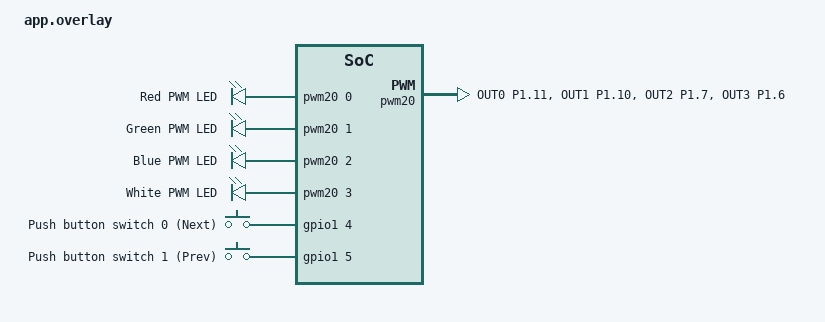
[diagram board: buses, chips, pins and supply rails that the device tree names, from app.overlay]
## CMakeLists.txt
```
cmake_minimum_required(VERSION 3.20.0)

find_package(Zephyr)
project(penlight LANGUAGES C)

target_sources(app PRIVATE
    src/main.c
    src/led_controller.c
    src/button.c
    src/color_utils.c
    src/effect_engine.c
    src/preset_manager.c
    src/preview_manager.c
    src/power_manager.c
    src/ble_service.c
)

target_include_directories(app PRIVATE src)
```

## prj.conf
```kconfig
CONFIG_PRINTK=y
CONFIG_PWM=y
CONFIG_GPIO=y

# Audio IO
CONFIG_I2S=y
CONFIG_AUDIO=y
CONFIG_AUDIO_DMIC=y

# FPU / DSP
CONFIG_FPU=y
CONFIG_FP_HARDABI=y
CONFIG_GNU_C_EXTENSIONS=y
CONFIG_STD_C11=y
# CONFIG_CPP=y
# CONFIG_STD_CPP20=y
# CONFIG_REQUIRES_FULL_LIBCPP=y
CONFIG_CMSIS_DSP=y
CONFIG_CMSIS_DSP_TRANSFORM=y
CONFIG_CMSIS_DSP_WINDOW=y
CONFIG_CMSIS_DSP_AUTOVECTORIZE=y

# Heap
# CONFIG_SYS_HEAP_RUNTIME_STATS=y
# CONFIG_SYS_HEAP_ARRAY_SIZE=4

# BT
CONFIG_BT=y
CONFIG_BT_PERIPHERAL=y
CONFIG_BT_SMP=y
CONFIG_BT_GATT_CLIENT=y
CONFIG_BT_GATT_DYNAMIC_DB=y
CONFIG_BT_DEVICE_NAME="LightstickBLE"
CONFIG_ZERO_LATENCY_IRQS=y
CONFIG_BT_CTLR_ZLI=y
CONFIG_BT_CTLR_ULL_HIGH_PRIO=2

CONFIG_BT_BUF_ACL_RX_SIZE=255
CONFIG_BT_BUF_ACL_TX_SIZE=251
CONFIG_BT_BUF_CMD_TX_SIZE=255
CONFIG_BT_BUF_EVT_DISCARDABLE_SIZE=255

CONFIG_BT_L2CAP_TX_MTU=247

# Settings Subsystem
CONFIG_SETTINGS=y
CONFIG_SETTINGS_RUNTIME=y

# NVS (Non-Volatile Storage)
CONFIG_FLASH=y
CONFIG_FLASH_MAP=y
CONFIG_NVS=y
CONFIG_FLASH_PAGE_LAYOUT=y
CONFIG_MPU_ALLOW_FLASH_WRITE=y

# ZMS (Zephyr M
CONFIG_ZMS=y
CONFIG_SETTINGS_ZMS=y

CONFIG_PM_DEVICE=y
CONFIG_POWEROFF=y
CONFIG_HWINFO=y

CONFIG_MAIN_STACK_SIZE=4096
CONFIG_BT_RX_STACK_SIZE=4096
CONFIG_SETTINGS_NVS_SECTOR_COUNT=8

# Battery based boot does not have UART console
CONFIG_SERIAL=n
CONFIG_UART_CONSOLE=n

CONFIG_USE_SEGGER_RTT=y
CONFIG_RTT_CONSOLE=y
CONFIG_LOG=y
CONFIG_LOG_BACKEND_RTT=y
CONFIG_LOG_PRINTK=n
CONFIG_STDOUT_CONSOLE=n
```

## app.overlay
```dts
/ {
	pwmleds {
		compatible = "pwm-leds";

		pwm_led_r: pwm_led_r {
			pwms = <&pwm20 0 PWM_MSEC(1) PWM_POLARITY_NORMAL>;
			label = "Red PWM LED";
			status = "okay";
		};
		pwm_led_g: pwm_led_g {
			pwms = <&pwm20 1 PWM_MSEC(1) PWM_POLARITY_NORMAL>;
			label = "Green PWM LED";
			status = "okay";
		};
		pwm_led_b: pwm_led_b {
			pwms = <&pwm20 2 PWM_MSEC(1) PWM_POLARITY_NORMAL>;
			label = "Blue PWM LED";
			status = "okay";
		};
		pwm_led_w: pwm_led_w {
			pwms = <&pwm20 3 PWM_MSEC(1) PWM_POLARITY_NORMAL>;
			label = "White PWM LED";
			status = "okay";
		};
	};

	buttons {
		compatible = "gpio-keys";

		button0: button_0 {
			gpios = <&gpio1 4 GPIO_ACTIVE_HIGH>;
			label = "Push button switch 0 (Next)";
			zephyr,code = <INPUT_KEY_0>;
		};

		button1: button_1 {
			gpios = <&gpio1 5 GPIO_ACTIVE_HIGH>;
			label = "Push button switch 1 (Prev)";
			zephyr,code = <INPUT_KEY_1>;
		};
	};

	aliases {
		pwm-led-r = &pwm_led_r;
		pwm-led-g = &pwm_led_g;
		pwm-led-b = &pwm_led_b;
		pwm-led-w = &pwm_led_w;
		button-next = &button0;
		button-prev = &button1;
	};
};

&pinctrl {
	pwm20_default: pwm20_default {
		group1 {
			psels = <NRF_PSEL(PWM_OUT0, 1, 11)>,
			        <NRF_PSEL(PWM_OUT1, 1, 10)>,
			        <NRF_PSEL(PWM_OUT2, 1, 7)>,
			        <NRF_PSEL(PWM_OUT3, 1, 6)>;
		};
	};
	pwm20_sleep: pwm20_sleep {
		group1 {
			psels = <NRF_PSEL(PWM_OUT0, 1, 11)>,
			        <NRF_PSEL(PWM_OUT1, 1, 10)>,
			        <NRF_PSEL(PWM_OUT2, 1, 7)>,
			        <NRF_PSEL(PWM_OUT3, 1, 6)>;
			low-power-enable;
		};
	};
};

&gpio0 {
	status = "okay";
};

&pwm20 {
	status = "okay";
	pinctrl-0 = <&pwm20_default>;
	pinctrl-1 = <&pwm20_sleep>;
	pinctrl-names = "default", "sleep";
};
```

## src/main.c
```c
/*
 * Penlight Main Application
 *
 * RGBW LED Penlight with BLE control
 */

#include <zephyr/kernel.h>
#include <zephyr/logging/log.h>

#include "ble_service.h"
#include "button.h"
#include "effect_engine.h"
#include "led_controller.h"
#include "power_manager.h"
#include "preset_manager.h"
#include "preview_manager.h"

LOG_MODULE_REGISTER(main, LOG_LEVEL_DBG);

/* アプリケーション状態 */
enum app_state {
  APP_STATE_NORMAL,
  APP_STATE_PREVIEW,
  APP_STATE_SLEEP,
};

static enum app_state current_state = APP_STATE_NORMAL;

/* 現在のプリセットエフェクトを開始 */
static void start_current_preset(void)
{
  struct preset_data preset;
  uint8_t index = preset_get_current_index();

  if (preset_get(index, &preset) == 0) {
    effect_engine_set(&preset);
    LOG_INF("Started preset %d", index);
  }
}

/* プレビュー終了コールバック */
static void on_preview_exit(void)
{
  LOG_INF("Preview ended, returning to normal mode");
  current_state = APP_STATE_NORMAL;
  start_current_preset();
}

/* ボタンイベントコールバック */
static void on_button_event(enum button_id btn, enum button_event evt)
{
  LOG_INF("Button %d event: %s", btn, evt == BUTTON_EVT_SHORT_PRESS ? "short" : "long");

  /* プレビューモード中はボタンでプレビュー終了 */
  if (preview_is_active()) {
    preview_exit();
    return;
  }

  switch (evt) {
    case BUTTON_EVT_SHORT_PRESS:
      if (current_state == APP_STATE_NORMAL) {
        uint8_t new_index;

        if (btn == BUTTON_NEXT) {
          new_index = preset_next();
        } else {
          new_index = preset_prev();
        }

        /* プリセット変更 */
        start_current_preset();

        /* BLE通知 */
        ble_notify_current_preset(new_index);

        LOG_INF("Preset changed to %d", new_index);
      }
      break;

    case BUTTON_EVT_LONG_PRESS:
      if (btn == BUTTON_NEXT) {
        if (current_state == APP_STATE_NORMAL) {
          /* スリープモードへ移行 */
          LOG_INF("Entering sleep mode");
          current_state = APP_STATE_SLEEP;
          effect_engine_stop();
          ble_stop_advertising();
          power_enter_sleep();
          /* Note: power_enter_sleep()から戻らない */
        }
      }
      break;
  }
}

/* 初期化処理 */
static int app_init(void)
{
  int ret;

  LOG_INF("Penlight initializing...");

  /* Power Manager初期化 */
  ret = power_manager_init();
  if (ret < 0) {
    LOG_ERR("Power manager init failed: %d", ret);
    return ret;
  }

  /* Deep Sleep復帰時の長押し判定 */
  if (power_is_wakeup_from_sleep()) {
    LOG_INF("Wakeup from sleep detected, checking button...");
    if (!power_check_wakeup_condition()) {
      /* 長押し確認失敗、再スリープへ (この行には到達しない) */
      return 0;
    }
    LOG_INF("Wakeup confirmed, continuing boot");
  }

  /* LED Controller初期化 */
  ret = led_controller_init();
  if (ret < 0) {
    LOG_ERR("LED controller init failed: %d", ret);
    return ret;
  }

  /* Button Handler初期化 */
  ret = button_init();
  if (ret < 0) {
    LOG_ERR("Button handler init failed: %d", ret);
    return ret;
  }
  button_set_callback(on_button_event);

  /* Effect Engine初期化 */
  ret = effect_engine_init();
  if (ret < 0) {
    LOG_ERR("Effect engine init failed: %d", ret);
    return ret;
  }

  /* Preset Manager初期化 */
  ret = preset_manager_init();
  if (ret < 0) {
    LOG_ERR("Preset manager init failed: %d", ret);
    return ret;
  }

  /* Preview Manager初期化 */
  ret = preview_manager_init();
  if (ret < 0) {
    LOG_ERR("Preview manager init failed: %d", ret);
    return ret;
  }
  preview_set_exit_callback(on_preview_exit);

  /* BLE Service初期化 */
  ret = ble_service_init();
  if (ret < 0) {
    LOG_ERR("BLE service init failed: %d", ret);
    return ret;
  }

  LOG_INF("Penlight initialized");
  return 0;
}

int main(void)
{
  int ret;

  LOG_INF("Penlight starting...");

  /* アプリケーション初期化 */
  ret = app_init();
  if (ret < 0) {
    LOG_ERR("Application init failed: %d", ret);
    return ret;
  }

  /* BLE広告開始 */
  ret = ble_start_advertising();
  if (ret < 0) {
    LOG_ERR("BLE advertising start failed: %d", ret);
    /* 継続する (BLEなしでも動作可能) */
  }

  /* バッテリー監視開始 */
  power_start_battery_monitor();

  /* 初期プリセットでエフェクト開始 */
  current_state = APP_STATE_NORMAL;
  start_current_preset();

  LOG_INF("Penlight started, preset=%d", preset_get_current_index());

  /* メインループ (Zephyrのワークキューで処理されるため、ここでは何もしない) */
  while (1) {
    k_sleep(K_FOREVER);
  }

  return 0;
}
```

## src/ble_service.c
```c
/*
 * BLE Service - Penlight Control BLE GATT Service
 */

#include "ble_service.h"

#include <string.h>
#include <zephyr/bluetooth/bluetooth.h>
#include <zephyr/bluetooth/conn.h>
#include <zephyr/bluetooth/gatt.h>
#include <zephyr/bluetooth/uuid.h>
#include <zephyr/kernel.h>
#include <zephyr/logging/log.h>

#include "effect_engine.h"
#include "effect_types.h"
#include "power_manager.h"
#include "preset_manager.h"
#include "preview_manager.h"

LOG_MODULE_REGISTER(ble_service, LOG_LEVEL_DBG);

/* Service UUID: 0000ff00-0000-1000-8000-00805f9b34fb */
#define BT_UUID_PENLIGHT_SERVICE_VAL \
  BT_UUID_128_ENCODE(0x0000ff00, 0x0000, 0x1000, 0x8000, 0x00805f9b34fb)
#define BT_UUID_PENLIGHT_SERVICE BT_UUID_DECLARE_128(BT_UUID_PENLIGHT_SERVICE_VAL)

/* Characteristic UUIDs */
#define BT_UUID_PRESET_WRITE_VAL \
  BT_UUID_128_ENCODE(0x0000ff01, 0x0000, 0x1000, 0x8000, 0x00805f9b34fb)
#define BT_UUID_PRESET_WRITE BT_UUID_DECLARE_128(BT_UUID_PRESET_WRITE_VAL)

#define BT_UUID_PRESET_READ_VAL \
  BT_UUID_128_ENCODE(0x0000ff02, 0x0000, 0x1000, 0x8000, 0x00805f9b34fb)
#define BT_UUID_PRESET_READ BT_UUID_DECLARE_128(BT_UUID_PRESET_READ_VAL)

#define BT_UUID_PRESET_SAVE_VAL \
  BT_UUID_128_ENCODE(0x0000ff03, 0x0000, 0x1000, 0x8000, 0x00805f9b34fb)
#define BT_UUID_PRESET_SAVE BT_UUID_DECLARE_128(BT_UUID_PRESET_SAVE_VAL)

#define BT_UUID_PREVIEW_COLOR_VAL \
  BT_UUID_128_ENCODE(0x0000ff04, 0x0000, 0x1000, 0x8000, 0x00805f9b34fb)
#define BT_UUID_PREVIEW_COLOR BT_UUID_DECLARE_128(BT_UUID_PREVIEW_COLOR_VAL)

#define BT_UUID_CURRENT_PRESET_VAL \
  BT_UUID_128_ENCODE(0x0000ff05, 0x0000, 0x1000, 0x8000, 0x00805f9b34fb)
#define BT_UUID_CURRENT_PRESET BT_UUID_DECLARE_128(BT_UUID_CURRENT_PRESET_VAL)

#define BT_UUID_EXIT_PREVIEW_VAL \
  BT_UUID_128_ENCODE(0x0000ff06, 0x0000, 0x1000, 0x8000, 0x00805f9b34fb)
#define BT_UUID_EXIT_PREVIEW BT_UUID_DECLARE_128(BT_UUID_EXIT_PREVIEW_VAL)

#define BT_UUID_BATTERY_LEVEL_VAL \
  BT_UUID_128_ENCODE(0x0000ff07, 0x0000, 0x1000, 0x8000, 0x00805f9b34fb)
#define BT_UUID_BATTERY_LEVEL BT_UUID_DECLARE_128(BT_UUID_BATTERY_LEVEL_VAL)

/* 状態 */
static struct bt_conn * current_conn;
static uint8_t preset_read_index;
static uint8_t current_preset_value;
static uint8_t battery_level_value;
static bool current_preset_notify_enabled;
static bool battery_level_notify_enabled;

/* BLE受信データからプリセットデータへ変換 */
static int parse_effect_data(
  const uint8_t * data, uint16_t len, struct preset_data * preset, bool has_preset_num)
{
  uint8_t offset = has_preset_num ? 1 : 0;

  if (len < offset + 1) {
    return -EINVAL;
  }

  uint8_t mode = data[offset];
  preset->mode = mode;

  switch (mode) {
    case EFFECT_MODE_SOLID:
      if (len < offset + 5) {
        return -EINVAL;
      }
      preset->data.solid.r = data[offset + 1];
      preset->data.solid.g = data[offset + 2];
      preset->data.solid.b = data[offset + 3];
      preset->data.solid.w = data[offset + 4];
      break;

    case EFFECT_MODE_RAINBOW:
      if (len < offset + 3) {
        return -EINVAL;
      }
      preset->data.rainbow.speed = data[offset + 1];
      preset->data.rainbow.brightness = data[offset + 2];
      break;

    case EFFECT_MODE_GRADIENT:
      if (len < offset + 10) {
        return -EINVAL;
      }
      preset->data.gradient.r1 = data[offset + 1];
      preset->data.gradient.g1 = data[offset + 2];
      preset->data.gradient.b1 = data[offset + 3];
      preset->data.gradient.w1 = data[offset + 4];
      preset->data.gradient.r2 = data[offset + 5];
      preset->data.gradient.g2 = data[offset + 6];
      preset->data.gradient.b2 = data[offset + 7];
      preset->data.gradient.w2 = data[offset + 8];
      preset->data.gradient.speed = data[offset + 9];
      break;

    case EFFECT_MODE_BLINK:
      if (len < offset + 6) {
        return -EINVAL;
      }
      preset->data.blink.r = data[offset + 1];
      preset->data.blink.g = data[offset + 2];
      preset->data.blink.b = data[offset + 3];
      preset->data.blink.w = data[offset + 4];
      preset->data.blink.period = data[offset + 5];
      break;

    default:
      return -EINVAL;
  }

  return 0;
}

/* プリセットデータを送信バッファに変換 */
static int encode_effect_data(const struct preset_data * preset, uint8_t * buf, size_t buf_size)
{
  int len = 0;

  buf[len++] = preset->mode;

  switch (preset->mode) {
    case EFFECT_MODE_SOLID:
      if (buf_size < 5) return -ENOMEM;
      buf[len++] = preset->data.solid.r;
      buf[len++] = preset->data.solid.g;
      buf[len++] = preset->data.solid.b;
      buf[len++] = preset->data.solid.w;
      break;

    case EFFECT_MODE_RAINBOW:
      if (buf_size < 3) return -ENOMEM;
      buf[len++] = preset->data.rainbow.speed;
      buf[len++] = preset->data.rainbow.brightness;
      break;

    case EFFECT_MODE_GRADIENT:
      if (buf_size < 10) return -ENOMEM;
      buf[len++] = preset->data.gradient.r1;
      buf[len++] = preset->data.gradient.g1;
      buf[len++] = preset->data.gradient.b1;
      buf[len++] = preset->data.gradient.w1;
      buf[len++] = preset->data.gradient.r2;
      buf[len++] = preset->data.gradient.g2;
      buf[len++] = preset->data.gradient.b2;
      buf[len++] = preset->data.gradient.w2;
      buf[len++] = preset->data.gradient.speed;
      break;

    case EFFECT_MODE_BLINK:
      if (buf_size < 6) return -ENOMEM;
      buf[len++] = preset->data.blink.r;
      buf[len++] = preset->data.blink.g;
      buf[len++] = preset->data.blink.b;
      buf[len++] = preset->data.blink.w;
      buf[len++] = preset->data.blink.period;
      break;

    default:
      return -EINVAL;
  }

  return len;
}

/* Preset Write callback */
static ssize_t preset_write_cb(
  struct bt_conn * conn, const struct bt_gatt_attr * attr, const void * buf, uint16_t len,
  uint16_t offset, uint8_t flags)
{
  const uint8_t * data = buf;

  if (len < 2) {
    return BT_GATT_ERR(BT_ATT_ERR_INVALID_ATTRIBUTE_LEN);
  }

  uint8_t preset_index = data[0];
  if (preset_index >= PRESET_COUNT) {
    return BT_GATT_ERR(BT_ATT_ERR_VALUE_NOT_ALLOWED);
  }

  struct preset_data preset;
  int rc = parse_effect_data(data, len, &preset, true);
  if (rc < 0) {
    return BT_GATT_ERR(BT_ATT_ERR_INVALID_ATTRIBUTE_LEN);
  }

  rc = preset_set(preset_index, &preset);
  if (rc < 0) {
    return BT_GATT_ERR(BT_ATT_ERR_UNLIKELY);
  }

  LOG_INF("Preset %d written: mode=%d", preset_index, preset.mode);
  return len;
}

/* Preset Read write callback (select preset) */
static ssize_t preset_read_write_cb(
  struct bt_conn * conn, const struct bt_gatt_attr * attr, const void * buf, uint16_t len,
  uint16_t offset, uint8_t flags)
{
  if (len != 1) {
    return BT_GATT_ERR(BT_ATT_ERR_INVALID_ATTRIBUTE_LEN);
  }

  const uint8_t * data = buf;
  if (data[0] >= PRESET_COUNT) {
    return BT_GATT_ERR(BT_ATT_ERR_VALUE_NOT_ALLOWED);
  }

  preset_read_index = data[0];
  LOG_INF("Preset read index set: %d", preset_read_index);
  return len;
}

/* Preset Read read callback */
static ssize_t preset_read_cb(
  struct bt_conn * conn, const struct bt_gatt_attr * attr, void * buf, uint16_t len,
  uint16_t offset)
{
  struct preset_data preset;
  uint8_t data[PRESET_DATA_MAX_SIZE];

  int rc = preset_get(preset_read_index, &preset);
  if (rc < 0) {
    return BT_GATT_ERR(BT_ATT_ERR_UNLIKELY);
  }

  int data_len = encode_effect_data(&preset, data, sizeof(data));
  if (data_len < 0) {
    return BT_GATT_ERR(BT_ATT_ERR_UNLIKELY);
  }

  return bt_gatt_attr_read(conn, attr, buf, len, offset, data, data_len);
}

/* Preset Save callback */
static ssize_t preset_save_cb(
  struct bt_conn * conn, const struct bt_gatt_attr * attr, const void * buf, uint16_t len,
  uint16_t offset, uint8_t flags)
{
  int rc = preset_save_all();
  if (rc < 0) {
    LOG_ERR("Failed to save presets: %d", rc);
    return BT_GATT_ERR(BT_ATT_ERR_UNLIKELY);
  }

  LOG_INF("All presets saved");
  return len;
}

/* Preview Color callback */
static ssize_t preview_color_cb(
  struct bt_conn * conn, const struct bt_gatt_attr * attr, const void * buf, uint16_t len,
  uint16_t offset, uint8_t flags)
{
  const uint8_t * data = buf;

  if (len < 1) {
    return BT_GATT_ERR(BT_ATT_ERR_INVALID_ATTRIBUTE_LEN);
  }

  struct preset_data preset;
  int rc = parse_effect_data(data, len, &preset, false);
  if (rc < 0) {
    return BT_GATT_ERR(BT_ATT_ERR_INVALID_ATTRIBUTE_LEN);
  }

  preview_start(&preset);
  LOG_INF("Preview started: mode=%d", preset.mode);
  return len;
}

/* Current Preset read callback */
static ssize_t current_preset_read_cb(
  struct bt_conn * conn, const struct bt_gatt_attr * attr, void * buf, uint16_t len,
  uint16_t offset)
{
  current_preset_value = preset_get_current_index();
  return bt_gatt_attr_read(
    conn, attr, buf, len, offset, &current_preset_value, sizeof(current_preset_value));
}

/* Current Preset CCC changed callback */
static void current_preset_ccc_changed(const struct bt_gatt_attr * attr, uint16_t value)
{
  current_preset_notify_enabled = (value == BT_GATT_CCC_NOTIFY);
  LOG_INF("Current Preset notify %s", current_preset_notify_enabled ? "enabled" : "disabled");
}

/* Exit Preview callback */
static ssize_t exit_preview_cb(
  struct bt_conn * conn, const struct bt_gatt_attr * attr, const void * buf, uint16_t len,
  uint16_t offset, uint8_t flags)
{
  if (len != 1) {
    return BT_GATT_ERR(BT_ATT_ERR_INVALID_ATTRIBUTE_LEN);
  }

  const uint8_t * data = buf;
  if (data[0] == 0x01) {
    preview_exit();
    LOG_INF("Preview exited via BLE");
  }

  return len;
}

/* Battery Level read callback */
static ssize_t battery_level_read_cb(
  struct bt_conn * conn, const struct bt_gatt_attr * attr, void * buf, uint16_t len,
  uint16_t offset)
{
  battery_level_value = power_get_battery_level();
  return bt_gatt_attr_read(
    conn, attr, buf, len, offset, &battery_level_value, sizeof(battery_level_value));
}

/* Battery Level CCC changed callback */
static void battery_level_ccc_changed(const struct bt_gatt_attr * attr, uint16_t value)
{
  battery_level_notify_enabled = (value == BT_GATT_CCC_NOTIFY);
  LOG_INF("Battery Level notify %s", battery_level_notify_enabled ? "enabled" : "disabled");
}

/* GATT Service Definition */
BT_GATT_SERVICE_DEFINE(
  penlight_svc, BT_GATT_PRIMARY_SERVICE(BT_UUID_PENLIGHT_SERVICE),

  /* Preset Write (0xff01) - Write */
  BT_GATT_CHARACTERISTIC(
    BT_UUID_PRESET_WRITE, BT_GATT_CHRC_WRITE, BT_GATT_PERM_WRITE, NULL, preset_write_cb, NULL),

  /* Preset Read (0xff02) - Read/Write */
  BT_GATT_CHARACTERISTIC(
    BT_UUID_PRESET_READ, BT_GATT_CHRC_READ | BT_GATT_CHRC_WRITE,
    BT_GATT_PERM_READ | BT_GATT_PERM_WRITE, preset_read_cb, preset_read_write_cb, NULL),

  /* Preset Save (0xff03) - Write */
  BT_GATT_CHARACTERISTIC(
    BT_UUID_PRESET_SAVE, BT_GATT_CHRC_WRITE, BT_GATT_PERM_WRITE, NULL, preset_save_cb, NULL),

  /* Preview Color (0xff04) - Write */
  BT_GATT_CHARACTERISTIC(
    BT_UUID_PREVIEW_COLOR, BT_GATT_CHRC_WRITE, BT_GATT_PERM_WRITE, NULL, preview_color_cb, NULL),

  /* Current Preset (0xff05) - Read/Notify */
  BT_GATT_CHARACTERISTIC(
    BT_UUID_CURRENT_PRESET, BT_GATT_CHRC_READ | BT_GATT_CHRC_NOTIFY, BT_GATT_PERM_READ,
    current_preset_read_cb, NULL, NULL),
  BT_GATT_CCC(current_preset_ccc_changed, BT_GATT_PERM_READ | BT_GATT_PERM_WRITE),

  /* Exit Preview (0xff06) - Write */
  BT_GATT_CHARACTERISTIC(
    BT_UUID_EXIT_PREVIEW, BT_GATT_CHRC_WRITE, BT_GATT_PERM_WRITE, NULL, exit_preview_cb, NULL),

  /* Battery Level (0xff07) - Read/Notify */
  BT_GATT_CHARACTERISTIC(
    BT_UUID_BATTERY_LEVEL, BT_GATT_CHRC_READ | BT_GATT_CHRC_NOTIFY, BT_GATT_PERM_READ,
    battery_level_read_cb, NULL, NULL),
  BT_GATT_CCC(battery_level_ccc_changed, BT_GATT_PERM_READ | BT_GATT_PERM_WRITE), );

/* Advertising data */
static const struct bt_data ad[] = {
  BT_DATA_BYTES(BT_DATA_FLAGS, (BT_LE_AD_GENERAL | BT_LE_AD_NO_BREDR)),
  BT_DATA_BYTES(BT_DATA_UUID128_ALL, BT_UUID_PENLIGHT_SERVICE_VAL),
};

/* Scan response data */
static const struct bt_data sd[] = {
  BT_DATA(BT_DATA_NAME_COMPLETE, CONFIG_BT_DEVICE_NAME, sizeof(CONFIG_BT_DEVICE_NAME) - 1),
};

/* Connection callbacks */
static void connected(struct bt_conn * conn, uint8_t err)
{
  if (err) {
    LOG_ERR("Connection failed (err %u)", err);
    return;
  }

  current_conn = bt_conn_ref(conn);
  LOG_INF("Connected");
}

static void disconnected(struct bt_conn * conn, uint8_t reason)
{
  LOG_INF("Disconnected (reason %u)", reason);

  if (current_conn) {
    bt_conn_unref(current_conn);
    current_conn = NULL;
  }

  /* 再広告 */
  ble_start_advertising();
}

BT_CONN_CB_DEFINE(conn_callbacks) = {
  .connected = connected,
  .disconnected = disconnected,
};

int ble_service_init(void)
{
  int err;

  err = bt_enable(NULL);
  if (err) {
    LOG_ERR("Bluetooth init failed (err %d)", err);
    return err;
  }

  LOG_INF("Bluetooth initialized");
  return 0;
}

int ble_start_advertising(void)
{
  int err;

  err = bt_le_adv_start(BT_LE_ADV_CONN_FAST_1, ad, ARRAY_SIZE(ad), sd, ARRAY_SIZE(sd));
  if (err) {
    LOG_ERR("Advertising failed to start (err %d)", err);
    return err;
  }

  LOG_INF("Advertising started");
  return 0;
}

int ble_stop_advertising(void)
{
  int err;

  err = bt_le_adv_stop();
  if (err) {
    LOG_ERR("Advertising failed to stop (err %d)", err);
    return err;
  }

  LOG_INF("Advertising stopped");
  return 0;
}

void ble_notify_current_preset(uint8_t preset_index)
{
  if (!current_conn || !current_preset_notify_enabled) {
    return;
  }

  current_preset_value = preset_index;

  int err = bt_gatt_notify(
    current_conn, &penlight_svc.attrs[10], &current_preset_value, sizeof(current_preset_value));
  if (err) {
    LOG_ERR("Current Preset notify failed (err %d)", err);
  }
}

void ble_notify_battery_level(uint8_t level)
{
  if (!current_conn || !battery_level_notify_enabled) {
    return;
  }

  battery_level_value = level;

  int err = bt_gatt_notify(
    current_conn, &penlight_svc.attrs[15], &battery_level_value, sizeof(battery_level_value));
  if (err) {
    LOG_ERR("Battery Level notify failed (err %d)", err);
  }
}
```

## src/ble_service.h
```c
/*
 * BLE Service - Penlight Control BLE GATT Service
 */

#ifndef BLE_SERVICE_H
#define BLE_SERVICE_H

#include <stdint.h>

/**
 * @brief BLE Serviceを初期化・開始
 * @return 0: 成功, 負値: エラー
 */
int ble_service_init(void);

/**
 * @brief BLE広告を開始
 * @return 0: 成功, 負値: エラー
 */
int ble_start_advertising(void);

/**
 * @brief BLE広告を停止
 * @return 0: 成功, 負値: エラー
 */
int ble_stop_advertising(void);

/**
 * @brief Current Presetを通知
 * @param preset_index 現在のプリセット番号
 */
void ble_notify_current_preset(uint8_t preset_index);

/**
 * @brief Battery Levelを通知
 * @param level バッテリー残量 (0-100%)
 */
void ble_notify_battery_level(uint8_t level);

#endif /* BLE_SERVICE_H */
```

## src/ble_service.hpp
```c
#pragma once

#include <zephyr/bluetooth/bluetooth.h>
#include <zephyr/bluetooth/conn.h>
#include <zephyr/bluetooth/gatt.h>
#include <zephyr/bluetooth/uuid.h>
#include <zephyr/kernel.h>
#include <zephyr/logging/log.h>

#include <array>

#include "effect_mode.hpp"

// Penlight Control Service UUID: 0000ff00-0000-1000-8000-00805f9b34fb
#define BT_UUID_PENLIGHT_SERVICE_VAL \
  BT_UUID_128_ENCODE(0x0000ff00, 0x0000, 0x1000, 0x8000, 0x00805f9b34fb)
#define BT_UUID_PENLIGHT_SERVICE BT_UUID_DECLARE_128(BT_UUID_PENLIGHT_SERVICE_VAL)

// Preset Write Characteristic UUID: 0000ff01-...
#define BT_UUID_PRESET_WRITE_VAL \
  BT_UUID_128_ENCODE(0x0000ff01, 0x0000, 0x1000, 0x8000, 0x00805f9b34fb)
#define BT_UUID_PRESET_WRITE BT_UUID_DECLARE_128(BT_UUID_PRESET_WRITE_VAL)

// Preset Read Characteristic UUID: 0000ff02-...
#define BT_UUID_PRESET_READ_VAL \
  BT_UUID_128_ENCODE(0x0000ff02, 0x0000, 0x1000, 0x8000, 0x00805f9b34fb)
#define BT_UUID_PRESET_READ BT_UUID_DECLARE_128(BT_UUID_PRESET_READ_VAL)

// Preview Color Characteristic UUID: 0000ff03-...
#define BT_UUID_PREVIEW_COLOR_VAL \
  BT_UUID_128_ENCODE(0x0000ff03, 0x0000, 0x1000, 0x8000, 0x00805f9b34fb)
#define BT_UUID_PREVIEW_COLOR BT_UUID_DECLARE_128(BT_UUID_PREVIEW_COLOR_VAL)

// Current Preset Characteristic UUID: 0000ff04-...
#define BT_UUID_CURRENT_PRESET_VAL \
  BT_UUID_128_ENCODE(0x0000ff04, 0x0000, 0x1000, 0x8000, 0x00805f9b34fb)
#define BT_UUID_CURRENT_PRESET BT_UUID_DECLARE_128(BT_UUID_CURRENT_PRESET_VAL)

// Exit Preview Characteristic UUID: 0000ff05-...
#define BT_UUID_EXIT_PREVIEW_VAL \
  BT_UUID_128_ENCODE(0x0000ff05, 0x0000, 0x1000, 0x8000, 0x00805f9b34fb)
#define BT_UUID_EXIT_PREVIEW BT_UUID_DECLARE_128(BT_UUID_EXIT_PREVIEW_VAL)

// Battery Level Characteristic UUID: 0000ff06-...
#define BT_UUID_BATTERY_LEVEL_VAL \
  BT_UUID_128_ENCODE(0x0000ff06, 0x0000, 0x1000, 0x8000, 0x00805f9b34fb)
#define BT_UUID_BATTERY_LEVEL BT_UUID_DECLARE_128(BT_UUID_BATTERY_LEVEL_VAL)

// Preset write data structure
struct preset_write_t
{
  uint8_t preset_number;
  rgbw_color_t color;
} __packed;

// Forward declarations
class PenlightBLEService;

// Callback function types
using PresetWriteCallback = void (*)(uint8_t preset, const Effect & effect);
using PresetReadCallback = void (*)(uint8_t preset);
using PreviewColorCallback = void (*)(const Effect & effect);
using ExitPreviewCallback = void (*)();
using CurrentPresetReadCallback = uint8_t (*)();

class PenlightBLEService
{
public:
  // Singleton instance accessor
  static PenlightBLEService & instance()
  {
    static PenlightBLEService instance;
    return instance;
  }

  // Delete copy constructor and assignment operator
  PenlightBLEService(const PenlightBLEService &) = delete;
  PenlightBLEService & operator=(const PenlightBLEService &) = delete;

  void set_preset_write_callback(PresetWriteCallback cb) { preset_write_cb_ = cb; }
  void set_preset_read_callback(PresetReadCallback cb) { preset_read_cb_ = cb; }
  void set_preview_color_callback(PreviewColorCallback cb) { preview_color_cb_ = cb; }
  void set_exit_preview_callback(ExitPreviewCallback cb) { exit_preview_cb_ = cb; }
  void set_current_preset_read_callback(CurrentPresetReadCallback cb)
  {
    current_preset_read_cb_ = cb;
  }

  static void set_preset_read_data(const Effect & effect)
  {
    instance().preset_read_effect_ = effect;
    // Serialize effect to buffer for reading
    instance().preset_read_size_ =
      effect.serialize(instance().preset_read_data_, sizeof(instance().preset_read_data_));
  }

  static void notify_current_preset(uint8_t preset);

  static void ccc_current_preset_cfg_changed(const struct bt_gatt_attr * attr, uint16_t value)
  {
    instance().preset_notify_enabled_ = value == BT_GATT_CCC_NOTIFY;
  }

  static void notify_battery_level(uint8_t level);

  static void ccc_battery_level_cfg_changed(const struct bt_gatt_attr * attr, uint16_t value)
  {
    instance().battery_level_notify_enabled_ = value == BT_GATT_CCC_NOTIFY;
  }

  // Static callbacks for GATT operations
  static ssize_t write_preset_write(
    struct bt_conn * conn, const struct bt_gatt_attr * attr, const void * buf, uint16_t len,
    uint16_t offset, uint8_t flags)
  {
    if (offset != 0) {
      return BT_GATT_ERR(BT_ATT_ERR_INVALID_OFFSET);
    }

    // Check minimum length (preset number + mode byte)
    if (len < 2) {
      return BT_GATT_ERR(BT_ATT_ERR_INVALID_ATTRIBUTE_LEN);
    }

    const auto * data = static_cast<const uint8_t *>(buf);
    uint8_t preset_number = data[0];

    if (preset_number >= 20) {
      return BT_GATT_ERR(BT_ATT_ERR_VALUE_NOT_ALLOWED);
    }

    // Parse effect from remaining data
    Effect effect;
    if (!effect.deserialize(data + 1, len - 1)) {
      // Try legacy 4-byte RGBW format for backward compatibility
      if (len == 5) {
        rgbw_color_t color;
        memcpy(&color, data + 1, sizeof(rgbw_color_t));
        effect = Effect::from_legacy_rgbw(color);
      } else {
        return BT_GATT_ERR(BT_ATT_ERR_INVALID_ATTRIBUTE_LEN);
      }
    }

    if (instance().preset_write_cb_) {
      instance().preset_write_cb_(preset_number, effect);
    }

    return len;
  }

  static ssize_t write_preset_read(
    struct bt_conn * conn, const struct bt_gatt_attr * attr, const void * buf, uint16_t len,
    uint16_t offset, uint8_t flags)
  {
    if (offset + len > 1) {
      return BT_GATT_ERR(BT_ATT_ERR_INVALID_OFFSET);
    }

    const uint8_t preset = *static_cast<const uint8_t *>(buf);
    if (preset >= 20) {
      return BT_GATT_ERR(BT_ATT_ERR_VALUE_NOT_ALLOWED);
    }

    if (instance().preset_read_cb_) {
      instance().preset_read_cb_(preset);
    }

    return len;
  }

  static ssize_t read_preset_read(
    struct bt_conn * conn, const struct bt_gatt_attr * attr, void * buf, uint16_t len,
    uint16_t offset)
  {
    return bt_gatt_attr_read(
      conn, attr, buf, len, offset, instance().preset_read_data_, instance().preset_read_size_);
  }

  static ssize_t write_preview_color(
    struct bt_conn * conn, const struct bt_gatt_attr * attr, const void * buf, uint16_t len,
    uint16_t offset, uint8_t flags)
  {
    if (offset != 0) {
      return BT_GATT_ERR(BT_ATT_ERR_INVALID_OFFSET);
    }

    // Check minimum length (mode byte)
    if (len < 1) {
      return BT_GATT_ERR(BT_ATT_ERR_INVALID_ATTRIBUTE_LEN);
    }

    const auto * data = static_cast<const uint8_t *>(buf);

    // Parse effect
    Effect effect;
    if (!effect.deserialize(data, len)) {
      // Try legacy 4-byte RGBW format for backward compatibility
      if (len == 4) {
        rgbw_color_t color;
        memcpy(&color, data, sizeof(rgbw_color_t));
        effect = Effect::from_legacy_rgbw(color);
      } else {
        return BT_GATT_ERR(BT_ATT_ERR_INVALID_ATTRIBUTE_LEN);
      }
    }

    if (instance().preview_color_cb_) {
      instance().preview_color_cb_(effect);
    }

    return len;
  }

  static ssize_t read_current_preset(
    struct bt_conn * conn, const struct bt_gatt_attr * attr, void * buf, uint16_t len,
    uint16_t offset)
  {
    uint8_t current_preset = instance().current_preset_;
    if (instance().current_preset_read_cb_) {
      current_preset = instance().current_preset_read_cb_();
    }
    return bt_gatt_attr_read(conn, attr, buf, len, offset, &current_preset, sizeof(uint8_t));
  }

  static ssize_t write_exit_preview(
    struct bt_conn * conn, const struct bt_gatt_attr * attr, const void * buf, uint16_t len,
    uint16_t offset, uint8_t flags)
  {
    if (offset + len > 1) {
      return BT_GATT_ERR(BT_ATT_ERR_INVALID_OFFSET);
    }

    const uint8_t cmd = *static_cast<const uint8_t *>(buf);
    if (cmd == 0x01 && instance().exit_preview_cb_) {
      instance().exit_preview_cb_();
    }

    return len;
  }

  static ssize_t read_battery_level(
    struct bt_conn * conn, const struct bt_gatt_attr * attr, void * buf, uint16_t len,
    uint16_t offset)
  {
    return bt_gatt_attr_read(
      conn, attr, buf, len, offset, &instance().battery_level_, sizeof(uint8_t));
  }

private:
  // Private constructor for singleton
  PenlightBLEService()
  : preset_write_cb_(nullptr),
    preset_read_cb_(nullptr),
    preview_color_cb_(nullptr),
    exit_preview_cb_(nullptr),
    current_preset_read_cb_(nullptr),
    current_preset_(0),
    battery_level_(100),
    preset_read_effect_(),
    preset_read_size_(0),
    preset_notify_enabled_(false),
    battery_level_notify_enabled_(false)
  {
    memset(preset_read_data_, 0, sizeof(preset_read_data_));
  }

  PresetWriteCallback preset_write_cb_;
  PresetReadCallback preset_read_cb_;
  PreviewColorCallback preview_color_cb_;
  ExitPreviewCallback exit_preview_cb_;
  CurrentPresetReadCallback current_preset_read_cb_;

  uint8_t current_preset_;
  uint8_t battery_level_;
  Effect preset_read_effect_;
  uint8_t preset_read_data_[MAX_PRESET_DATA_SIZE];
  size_t preset_read_size_;

  bool preset_notify_enabled_, battery_level_notify_enabled_;
};

BT_GATT_SERVICE_DEFINE(
  penlight_service, BT_GATT_PRIMARY_SERVICE(BT_UUID_PENLIGHT_SERVICE),
  // Preset Write (Write only)
  BT_GATT_CHARACTERISTIC(
    BT_UUID_PRESET_WRITE, BT_GATT_CHRC_WRITE, BT_GATT_PERM_WRITE, nullptr,
    PenlightBLEService::write_preset_write, nullptr),
  // Preset Read (Read + Write)
  BT_GATT_CHARACTERISTIC(
    BT_UUID_PRESET_READ, BT_GATT_CHRC_READ | BT_GATT_CHRC_WRITE,
    BT_GATT_PERM_READ | BT_GATT_PERM_WRITE, PenlightBLEService::read_preset_read,
    PenlightBLEService::write_preset_read, nullptr),
  // Preview Color (Write only)
  BT_GATT_CHARACTERISTIC(
    BT_UUID_PREVIEW_COLOR, BT_GATT_CHRC_WRITE, BT_GATT_PERM_WRITE, nullptr,
    PenlightBLEService::write_preview_color, nullptr),
  // Current Preset (Read + Notify)
  BT_GATT_CHARACTERISTIC(
    BT_UUID_CURRENT_PRESET, BT_GATT_CHRC_READ | BT_GATT_CHRC_NOTIFY, BT_GATT_PERM_READ,
    PenlightBLEService::read_current_preset, nullptr, nullptr),
  BT_GATT_CCC(
    PenlightBLEService::ccc_current_preset_cfg_changed, BT_GATT_PERM_READ | BT_GATT_PERM_WRITE),
  // Exit Preview (Write only)
  BT_GATT_CHARACTERISTIC(
    BT_UUID_EXIT_PREVIEW, BT_GATT_CHRC_WRITE, BT_GATT_PERM_WRITE, nullptr,
    PenlightBLEService::write_exit_preview, nullptr),
  // Battery Level (Read + Notify)
  BT_GATT_CHARACTERISTIC(
    BT_UUID_BATTERY_LEVEL, BT_GATT_CHRC_READ | BT_GATT_CHRC_NOTIFY, BT_GATT_PERM_READ,
    PenlightBLEService::read_battery_level, nullptr, nullptr),
  BT_GATT_CCC(
    PenlightBLEService::ccc_battery_level_cfg_changed, BT_GATT_PERM_READ | BT_GATT_PERM_WRITE));

// Implementation of notify_current_preset
inline void PenlightBLEService::notify_current_preset(uint8_t preset)
{
  instance().current_preset_ = preset;
  if (instance().preset_notify_enabled_) {
    bt_gatt_notify(
      nullptr, &penlight_service.attrs[8], &instance().current_preset_,
      sizeof(instance().current_preset_));
  }
}

// Implementation of notify_battery_level
inline void PenlightBLEService::notify_battery_level(uint8_t level)
{
  instance().battery_level_ = level;
  if (instance().battery_level_notify_enabled_) {
    bt_gatt_notify(
      nullptr, &penlight_service.attrs[14], &instance().battery_level_,
      sizeof(instance().battery_level_));
  }
}
```

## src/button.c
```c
/*
 * Button Handler - ボタン入力処理
 */

#include "button.h"

#include <zephyr/device.h>
#include <zephyr/drivers/gpio.h>
#include <zephyr/kernel.h>
#include <zephyr/logging/log.h>

LOG_MODULE_REGISTER(button, LOG_LEVEL_DBG);

/* 定数定義 */
#define DEBOUNCE_MS 50
#define LONG_PRESS_MS 3000

/* GPIO button definitions from device tree */
static const struct gpio_dt_spec button_next = GPIO_DT_SPEC_GET(DT_ALIAS(button_next), gpios);
static const struct gpio_dt_spec button_prev = GPIO_DT_SPEC_GET(DT_ALIAS(button_prev), gpios);

/* ボタン状態 */
struct button_state
{
  const struct gpio_dt_spec * gpio;
  struct gpio_callback cb_data;
  struct k_work_delayable debounce_work;
  struct k_work_delayable long_press_work;
  enum button_id id;
  bool pressed;
  int64_t press_time;
};

static struct button_state buttons[BUTTON_COUNT] = {};
static button_callback_t user_callback;

/* デバウンス後のボタン処理 */
static void debounce_work_handler(struct k_work * work)
{
  struct k_work_delayable * dwork = k_work_delayable_from_work(work);
  struct button_state * btn = CONTAINER_OF(dwork, struct button_state, debounce_work);

  bool current_state = gpio_pin_get_dt(btn->gpio);

  if (current_state && !btn->pressed) {
    /* ボタン押下開始 */
    btn->press_time = k_uptime_get();
    /* 長押し検出タイマー開始 */
    k_work_schedule(&btn->long_press_work, K_MSEC(LONG_PRESS_MS));
    LOG_INF("Button %d pressed", btn->id);
  } else if (!current_state && btn->pressed) {
    /* ボタン離された */
    k_work_cancel_delayable(&btn->long_press_work);

    int64_t press_duration = k_uptime_get() - btn->press_time;
    if (press_duration < LONG_PRESS_MS) {
      /* 短押しイベント */
      LOG_INF("Button %d short press", btn->id);
      if (user_callback) {
        user_callback(btn->id, BUTTON_EVT_SHORT_PRESS);
      }
    }
  }

  btn->pressed = current_state;
}

/* 長押し検出ハンドラ */
static void long_press_work_handler(struct k_work * work)
{
  struct k_work_delayable * dwork = k_work_delayable_from_work(work);
  struct button_state * btn = CONTAINER_OF(dwork, struct button_state, long_press_work);

  if (btn->pressed) {
    LOG_INF("Button %d long press", btn->id);
    if (user_callback) {
      user_callback(btn->id, BUTTON_EVT_LONG_PRESS);
    }
  }
}

/* GPIO割り込みコールバック */
static void gpio_callback_handler(
  const struct device * dev, struct gpio_callback * cb, uint32_t pins)
{
  struct button_state * btn = CONTAINER_OF(cb, struct button_state, cb_data);
  k_work_schedule(&btn->debounce_work, K_MSEC(DEBOUNCE_MS));
}

static int button_setup(
  struct button_state * btn, const struct gpio_dt_spec * gpio, enum button_id id)
{
  int ret;

  btn->gpio = gpio;
  btn->id = id;
  btn->pressed = false;

  if (!gpio_is_ready_dt(gpio)) {
    LOG_ERR("Button %d GPIO not ready", id);
    return -ENODEV;
  }

  ret = gpio_pin_configure_dt(gpio, GPIO_INPUT);
  if (ret < 0) {
    LOG_ERR("Button %d configure failed: %d", id, ret);
    return ret;
  }

  ret = gpio_pin_interrupt_configure_dt(gpio, GPIO_INT_EDGE_BOTH);
  if (ret < 0) {
    LOG_ERR("Button %d interrupt configure failed: %d", id, ret);
    return ret;
  }

  gpio_init_callback(&btn->cb_data, gpio_callback_handler, BIT(gpio->pin));
  ret = gpio_add_callback(gpio->port, &btn->cb_data);
  if (ret < 0) {
    LOG_ERR("Button %d add callback failed: %d", id, ret);
    return ret;
  }

  k_work_init_delayable(&btn->debounce_work, debounce_work_handler);
  k_work_init_delayable(&btn->long_press_work, long_press_work_handler);

  return 0;
}

int button_init(void)
{
  int ret;

  ret = button_setup(&buttons[BUTTON_NEXT], &button_next, BUTTON_NEXT);
  if (ret < 0) {
    return ret;
  }

  ret = button_setup(&buttons[BUTTON_PREV], &button_prev, BUTTON_PREV);
  if (ret < 0) {
    return ret;
  }

  LOG_INF("Button handler initialized");
  return 0;
}

void button_set_callback(button_callback_t cb) { user_callback = cb; }

bool button_is_pressed(enum button_id btn)
{
  if (btn >= BUTTON_COUNT) {
    return false;
  }
  return buttons[btn].pressed;
}
```

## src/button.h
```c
/*
 * Button Handler - ボタン入力処理
 */

#ifndef BUTTON_H
#define BUTTON_H

#include <stdint.h>
#include <stdbool.h>

/* ボタンID */
enum button_id {
    BUTTON_NEXT = 0,
    BUTTON_PREV = 1,
    BUTTON_COUNT
};

/* ボタンイベント種類 */
enum button_event {
    BUTTON_EVT_SHORT_PRESS,   /* 短押し */
    BUTTON_EVT_LONG_PRESS,    /* 長押し (3秒) */
};

/* ボタンイベントコールバック */
typedef void (*button_callback_t)(enum button_id btn, enum button_event evt);

/**
 * @brief Button Handlerを初期化
 * @return 0: 成功, 負値: エラー
 */
int button_init(void);

/**
 * @brief ボタンイベントコールバックを登録
 * @param cb コールバック関数
 */
void button_set_callback(button_callback_t cb);

/**
 * @brief ボタンの現在の押下状態を取得
 * @param btn ボタンID
 * @return true: 押下中, false: 離されている
 */
bool button_is_pressed(enum button_id btn);

#endif /* BUTTON_H */
```

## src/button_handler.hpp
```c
#pragma once

#include <zephyr/device.h>
#include <zephyr/drivers/gpio.h>
#include <zephyr/kernel.h>
#include <zephyr/logging/log.h>

// Long press threshold: 2 seconds
#define BUTTON_LONG_PRESS_MS 2000

enum class ButtonId {
  BUTTON_NEXT = 0,  // Button for next preset
  BUTTON_PREV = 1,  // Button for previous preset
};

enum class ButtonEvent {
  PRESS,      // Normal press (button released before long press threshold)
  LONG_PRESS  // Long press (button held for BUTTON_LONG_PRESS_MS)
};

class DualButtonHandler
{
public:
  DualButtonHandler(
    const struct gpio_dt_spec * button_next_spec, const struct gpio_dt_spec * button_prev_spec)
  : button_next_(button_next_spec),
    button_prev_(button_prev_spec),
    callback_func_(nullptr),
    callback_data_(nullptr),
    long_press_callback_func_(nullptr),
    long_press_callback_data_(nullptr)
  {
  }

  bool init()
  {
    // Initialize next button (with both edge detection for press and release)
    if (!init_button(button_next_, &button_next_cb_data_, "Next")) {
      return false;
    }

    // Initialize prev button
    if (!init_button(button_prev_, &button_prev_cb_data_, "Prev")) {
      return false;
    }

    k_timer_init(&long_press_timer_, long_press_timer_callback, nullptr);
    k_timer_user_data_set(&long_press_timer_, this);

    return true;
  }

  void set_callback(void (*callback)(ButtonId, void *), void * user_data)
  {
    callback_func_ = callback;
    callback_data_ = user_data;
  }

  void set_long_press_callback(void (*callback)(ButtonId, void *), void * user_data)
  {
    long_press_callback_func_ = callback;
    long_press_callback_data_ = user_data;
  }

  bool is_next_pressed() const
  {
    if (!button_next_) return false;
    return gpio_pin_get_dt(button_next_) != 0;
  }

  bool is_prev_pressed() const
  {
    if (!button_prev_) return false;
    return gpio_pin_get_dt(button_prev_) != 0;
  }

  void disable_interrupts()
  {
    if (button_next_) {
      gpio_pin_interrupt_configure_dt(button_next_, GPIO_INT_DISABLE);
    }
    if (button_prev_) {
      gpio_pin_interrupt_configure_dt(button_prev_, GPIO_INT_DISABLE);
    }
    gpio_remove_callback(button_next_->port, &button_next_cb_data_);
    gpio_remove_callback(button_prev_->port, &button_prev_cb_data_);
  }

private:
  const struct gpio_dt_spec * button_next_;
  const struct gpio_dt_spec * button_prev_;
  struct gpio_callback button_next_cb_data_;
  struct gpio_callback button_prev_cb_data_;

  void (*callback_func_)(ButtonId, void *);
  void * callback_data_;
  void (*long_press_callback_func_)(ButtonId, void *);
  void * long_press_callback_data_;

  struct k_timer long_press_timer_;
  ButtonId button_being_held_;
  bool long_press_triggered_;

  bool init_button(
    const struct gpio_dt_spec * button, struct gpio_callback * cb_data, const char * name)
  {
    if (!button) {
      printk("Error: %s button spec is null\n", name);
      return false;
    }

    if (!device_is_ready(button->port)) {
      printk("Error: %s button device %s is not ready\n", name, button->port->name);
      return false;
    }

    int ret = gpio_pin_configure_dt(button, GPIO_INPUT);
    if (ret < 0) {
      printk("Error: Failed to configure %s button pin: %d\n", name, ret);
      return false;
    }

    // Use both edge detection to detect press and release
    ret = gpio_pin_interrupt_configure_dt(button, GPIO_INT_EDGE_BOTH);
    if (ret < 0) {
      printk("Error: Failed to configure %s button interrupt: %d\n", name, ret);
      return false;
    }

    // Determine which button this is and set callback accordingly
    if (button == button_next_) {
      gpio_init_callback(cb_data, button_next_callback, BIT(button->pin));
    } else {
      gpio_init_callback(cb_data, button_prev_callback, BIT(button->pin));
    }

    gpio_add_callback(button->port, cb_data);

    return true;
  }

  static void button_next_callback(
    const struct device * dev, struct gpio_callback * cb, uint32_t pins)
  {
    auto * handler = CONTAINER_OF(cb, DualButtonHandler, button_next_cb_data_);
    if (handler) {
      handler->handle_button_event(ButtonId::BUTTON_NEXT);
    }
  }

  static void button_prev_callback(
    const struct device * dev, struct gpio_callback * cb, uint32_t pins)
  {
    auto * handler = CONTAINER_OF(cb, DualButtonHandler, button_prev_cb_data_);
    if (handler) {
      handler->handle_button_event(ButtonId::BUTTON_PREV);
    }
  }

  void handle_button_event(ButtonId button_id)
  {
    const struct gpio_dt_spec * button =
      (button_id == ButtonId::BUTTON_NEXT) ? button_next_ : button_prev_;

    bool is_pressed = gpio_pin_get_dt(button) != 0;

    if (is_pressed) {
      // Button pressed - start long press timer
      button_being_held_ = button_id;
      long_press_triggered_ = false;
      k_timer_start(&long_press_timer_, K_MSEC(BUTTON_LONG_PRESS_MS), K_NO_WAIT);
    } else {
      // Button released
      k_timer_stop(&long_press_timer_);

      // If long press was not triggered, this is a normal press
      if (!long_press_triggered_ && callback_func_) {
        callback_func_(button_id, callback_data_);
      }
    }
  }

  static void long_press_timer_callback(struct k_timer * timer)
  {
    auto * handler = static_cast<DualButtonHandler *>(k_timer_user_data_get(timer));
    if (handler) {
      handler->handle_long_press();
    }
  }

  void handle_long_press()
  {
    long_press_triggered_ = true;

    if (long_press_callback_func_) {
      long_press_callback_func_(button_being_held_, long_press_callback_data_);
    }
  }
};
```

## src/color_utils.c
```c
/*
 * Color Utilities - 色変換ユーティリティ
 */

#include "color_utils.h"

struct rgb_color hsv_to_rgb(uint16_t h, uint8_t s, uint8_t v)
{
    struct rgb_color rgb;

    if (s == 0) {
        /* 彩度0は無彩色 (白/グレー) */
        rgb.r = v;
        rgb.g = v;
        rgb.b = v;
        return rgb;
    }

    /* h: 0-359, 60度ごとにセクタ分割 */
    h = h % 360;
    uint8_t sector = h / 60;
    uint8_t pos = h % 60;

    /* 中間値計算 */
    uint8_t p = (v * (255 - s)) / 255;
    uint8_t q = (v * (255 - (s * pos) / 60)) / 255;
    uint8_t t = (v * (255 - (s * (60 - pos)) / 60)) / 255;

    switch (sector) {
    case 0:
        rgb.r = v;
        rgb.g = t;
        rgb.b = p;
        break;
    case 1:
        rgb.r = q;
        rgb.g = v;
        rgb.b = p;
        break;
    case 2:
        rgb.r = p;
        rgb.g = v;
        rgb.b = t;
        break;
    case 3:
        rgb.r = p;
        rgb.g = q;
        rgb.b = v;
        break;
    case 4:
        rgb.r = t;
        rgb.g = p;
        rgb.b = v;
        break;
    default: /* sector 5 */
        rgb.r = v;
        rgb.g = p;
        rgb.b = q;
        break;
    }

    return rgb;
}

struct rgbw_color rgbw_lerp(const struct rgbw_color *c1,
                            const struct rgbw_color *c2,
                            uint8_t t)
{
    struct rgbw_color result;

    /* Linear interpolation: result = c1 + (c2 - c1) * t / 255 */
    result.r = c1->r + ((int16_t)(c2->r - c1->r) * t) / 255;
    result.g = c1->g + ((int16_t)(c2->g - c1->g) * t) / 255;
    result.b = c1->b + ((int16_t)(c2->b - c1->b) * t) / 255;
    result.w = c1->w + ((int16_t)(c2->w - c1->w) * t) / 255;

    return result;
}
```

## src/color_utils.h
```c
/*
 * Color Utilities - 色変換ユーティリティ
 */

#ifndef COLOR_UTILS_H
#define COLOR_UTILS_H

#include <stdint.h>

/* RGB構造体 */
struct rgb_color {
    uint8_t r;
    uint8_t g;
    uint8_t b;
};

/* RGBW構造体 */
struct rgbw_color {
    uint8_t r;
    uint8_t g;
    uint8_t b;
    uint8_t w;
};

/**
 * @brief HSVからRGBに変換
 * @param h 色相 (0-359)
 * @param s 彩度 (0-255)
 * @param v 明度 (0-255)
 * @return RGB値
 */
struct rgb_color hsv_to_rgb(uint16_t h, uint8_t s, uint8_t v);

/**
 * @brief 2つのRGBW色を線形補間
 * @param c1 開始色
 * @param c2 終了色
 * @param t 補間係数 (0-255, 0=c1, 255=c2)
 * @return 補間された色
 */
struct rgbw_color rgbw_lerp(const struct rgbw_color *c1,
                            const struct rgbw_color *c2,
                            uint8_t t);

#endif /* COLOR_UTILS_H */
```

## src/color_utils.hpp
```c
#pragma once

#include <zephyr/kernel.h>

#include <cstdint>

#include "ble_service.hpp"

// Color utility functions

// Convert HSV to RGB
// H: 0-359 degrees
// S: 0-255 (0-100%)
// V: 0-255 (0-100%)
inline rgbw_color_t hsv_to_rgb(uint16_t h, uint8_t s, uint8_t v)
{
  // Normalize hue to 0-359
  h = h % 360;

  uint8_t region = h / 60;
  uint8_t remainder = (h - (region * 60)) * 256 / 60;

  uint8_t p = (v * (255 - s)) >> 8;
  uint8_t q = (v * (255 - ((s * remainder) >> 8))) >> 8;
  uint8_t t = (v * (255 - ((s * (255 - remainder)) >> 8))) >> 8;

  rgbw_color_t color{};

  switch (region) {
    case 0:
      color.r = v;
      color.g = t;
      color.b = p;
      break;
    case 1:
      color.r = q;
      color.g = v;
      color.b = p;
      break;
    case 2:
      color.r = p;
      color.g = v;
      color.b = t;
      break;
    case 3:
      color.r = p;
      color.g = q;
      color.b = v;
      break;
    case 4:
      color.r = t;
      color.g = p;
      color.b = v;
      break;
    default:  // case 5:
      color.r = v;
      color.g = p;
      color.b = q;
      break;
  }

  color.w = 0;  // No white component in HSV conversion
  return color;
}

// Linear interpolation between two RGBW colors
// t: 0-255 (0 = color1, 255 = color2)
inline rgbw_color_t lerp_color(const rgbw_color_t & color1, const rgbw_color_t & color2, uint8_t t)
{
  rgbw_color_t result;
  result.r = color1.r + ((int16_t)(color2.r - color1.r) * t) / 255;
  result.g = color1.g + ((int16_t)(color2.g - color1.g) * t) / 255;
  result.b = color1.b + ((int16_t)(color2.b - color1.b) * t) / 255;
  result.w = color1.w + ((int16_t)(color2.w - color1.w) * t) / 255;
  return result;
}

// Apply brightness to RGBW color
// brightness: 0-255
inline rgbw_color_t apply_brightness(const rgbw_color_t & color, uint8_t brightness)
{
  rgbw_color_t result;
  result.r = (static_cast<uint16_t>(color.r) * brightness) / 255;
  result.g = (static_cast<uint16_t>(color.g) * brightness) / 255;
  result.b = (static_cast<uint16_t>(color.b) * brightness) / 255;
  result.w = (static_cast<uint16_t>(color.w) * brightness) / 255;
  return result;
}
```

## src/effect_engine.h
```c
/*
 * Effect Engine - エフェクト実行エンジン
 */

#ifndef EFFECT_ENGINE_H
#define EFFECT_ENGINE_H

#include "effect_types.h"

/**
 * @brief Effect Engineを初期化
 * @return 0: 成功, 負値: エラー
 */
int effect_engine_init(void);

/**
 * @brief エフェクトを設定して開始
 * @param preset エフェクトデータ
 */
void effect_engine_set(const struct preset_data *preset);

/**
 * @brief エフェクトを停止
 */
void effect_engine_stop(void);

/**
 * @brief エフェクトが実行中かどうか
 * @return true: 実行中, false: 停止中
 */
bool effect_engine_is_running(void);

#endif /* EFFECT_ENGINE_H */
```
